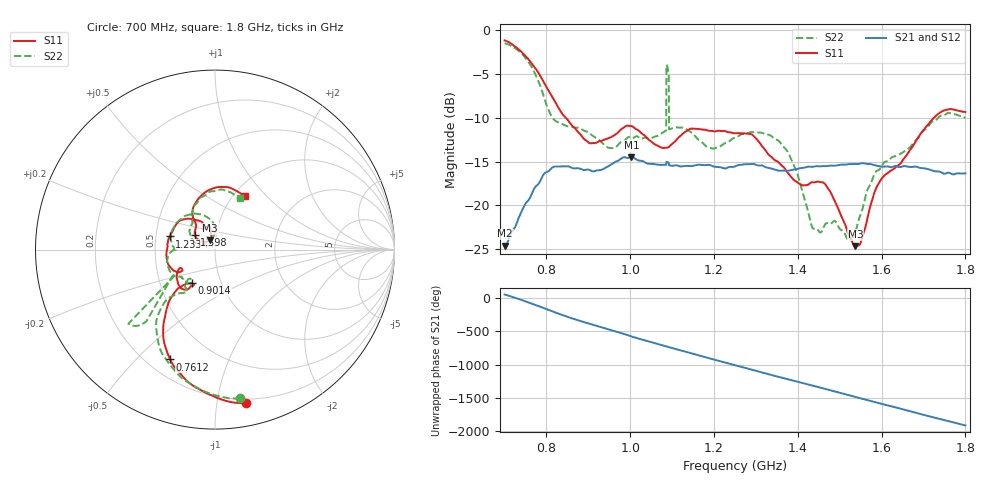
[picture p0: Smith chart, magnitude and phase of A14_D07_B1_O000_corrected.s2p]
! Created with skrf 1.9.0 (http://scikit-rf.org).
# Hz S RI R 50.0
!freq ReS11 ImS11 ReS21 ImS21 ReS12 ImS12 ReS22 ImS22
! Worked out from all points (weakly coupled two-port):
!   1601 points, 700 MHz to 1.8 GHz, reference 50 ohm
!   highest |S21| = -14.49 dB at 1.002 GHz (marker M1); lowest = -24.6 dB at 701.4 MHz (marker M2)
!   lowest |S11| = -24.6 dB at 1.537 GHz (marker M3), VSWR 1.12, Z = 47.2 + j4.94 ohm
!   |S11| at or under -10 dB: 846 MHz to 1.725 GHz (878.8 MHz wide, 68.4 % of centre)
!   |S22| runs from -24.0 to -1.5 dB; largest |S21 - S12| = 0.0036
!   S11 on the Smith chart (normalised r, x): 700 MHz: 0.17, -1.21; 761.2 MHz: 0.29, -0.63; 901.4 MHz: 0.72, -0.29; 1.233 GHz: 0.59, +0.09; 1.598 GHz: 0.79, +0.13; 1.8 GHz: 1.13, +0.76
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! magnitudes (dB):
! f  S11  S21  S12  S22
! 700 MHz  -1.2  -24.6  -24.4  -1.5
! 701.4 MHz  -1.2  -24.6  -24.2  -1.5
! 761.2 MHz  -3.6  -19.1  -19.0  -3.9
! 816.2 MHz  -7.8  -15.6  -15.7  -10.1
! 883.6 MHz  -12.0  -15.9  -15.8  -11.3
! 901.4 MHz  -12.9  -15.9  -15.9  -11.7
! 1.002 GHz  -10.9  -14.5  -14.6  -12.3
! 1.067 GHz  -13.2  -15.4  -15.3  -12.0
! 1.08 GHz  -13.4  -15.4  -15.4  -11.6
! 1.086 GHz  -13.4  -15.0  -15.0  -3.9
! 1.092 GHz  -13.3  -15.2  -15.2  -5.2
! 1.098 GHz  -13.0  -15.5  -15.5  -11.2
! 1.233 GHz  -11.6  -15.7  -15.7  -12.8
! 1.25 GHz  -11.8  -15.5  -15.5  -12.3
! 1.357 GHz  -15.3  -16.0  -16.0  -12.8
! 1.434 GHz  -17.4  -15.6  -15.6  -22.4
! 1.471 GHz  -18.0  -15.5  -15.5  -22.0
! 1.537 GHz  -24.6  -15.3  -15.3  -23.0
! 1.598 GHz  -17.1  -15.5  -15.5  -15.7
! 1.617 GHz  -16.2  -15.6  -15.5  -14.8
! 1.734 GHz  -9.6  -16.1  -16.2  -10.0
! 1.8 GHz  -9.3  -16.3  -16.3  -10.0
